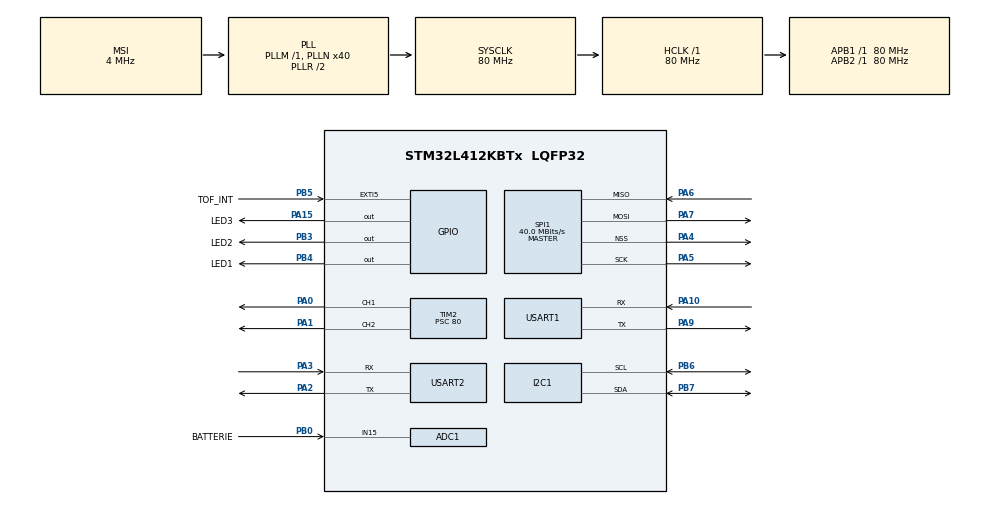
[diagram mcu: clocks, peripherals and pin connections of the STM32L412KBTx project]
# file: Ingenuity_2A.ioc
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ADC1.Channel-1\#ChannelRegularConversion=ADC_CHANNEL_15
ADC1.NbrOfConversionFlag=1
ADC1.OffsetNumber-1\#ChannelRegularConversion=ADC_OFFSET_NONE
ADC1.Rank-1\#ChannelRegularConversion=1
ADC1.SamplingTime-1\#ChannelRegularConversion=ADC_SAMPLETIME_2CYCLES_5
ADC1.master=1
I2C1.Timing=0x10909CEC
Mcu.Family=STM32L4
Mcu.Name=STM32L412KBTx
Mcu.Package=LQFP32
NVIC.EXTI9_5_IRQn=true\:0\:0\:false\:false\:true\:true\:true\:true
NVIC.PriorityGroup=NVIC_PRIORITYGROUP_4
NVIC.TIM6_IRQn=true\:0\:0\:false\:false\:true\:true\:true\:true
NVIC.USART2_IRQn=true\:0\:0\:false\:false\:true\:true\:true\:true
PA0-CK_IN.Signal=S_TIM2_CH1
PA1.Signal=S_TIM2_CH2
PA10.Mode=Asynchronous
PA10.Signal=USART1_RX
PA13\ (JTMS/SWDIO).Mode=Serial_Wire
PA13\ (JTMS/SWDIO).Signal=SYS_JTMS-SWDIO
PA14\ (JTCK/SWCLK).Mode=Serial_Wire
PA14\ (JTCK/SWCLK).Signal=SYS_JTCK-SWCLK
PA15\ (JTDI).GPIO_Label=LED3
PA15\ (JTDI).Signal=GPIO_Output
PA2.Mode=Asynchronous
PA2.Signal=USART2_TX
PA3.Mode=Asynchronous
PA3.Signal=USART2_RX
PA4.Mode=NSS_Signal_Hard_Output
PA4.Signal=SPI1_NSS
PA5.Mode=Full_Duplex_Master
PA5.Signal=SPI1_SCK
PA6.Mode=Full_Duplex_Master
PA6.Signal=SPI1_MISO
PA7.Mode=Full_Duplex_Master
PA7.Signal=SPI1_MOSI
PA9.Mode=Asynchronous
PA9.Signal=USART1_TX
PB0.GPIO_Label=BATTERIE
PB0.Signal=ADCx_IN15
PB3\ (JTDO/TRACESWO).GPIO_Label=LED2
PB3\ (JTDO/TRACESWO).Signal=GPIO_Output
PB4\ (NJTRST).GPIO_Label=LED1
PB4\ (NJTRST).Signal=GPIO_Output
PB5.GPIO_Label=TOF_INT
PB5.Signal=GPXTI5
PB6.Mode=I2C
PB6.Signal=I2C1_SCL
PB7.Mode=I2C
PB7.Signal=I2C1_SDA
ProjectManager.HeapSize=0x200
ProjectManager.StackSize=0x400
ProjectManager.TargetToolchain=STM32CubeIDE
RCC.ADCFreq_Value=80000000
RCC.AHBFreq_Value=80000000
RCC.APB1Freq_Value=80000000
RCC.APB1TimFreq_Value=80000000
RCC.APB2Freq_Value=80000000
RCC.APB2TimFreq_Value=80000000
RCC.CortexFreq_Value=80000000
RCC.HCLKFreq_Value=80000000
RCC.HSE_VALUE=8000000
RCC.HSI48_VALUE=48000000
RCC.HSI_VALUE=16000000
RCC.LSE_VALUE=32768
RCC.MSI_VALUE=4000000
RCC.PLLN=40
RCC.SYSCLKFreq_VALUE=80000000
RCC.SYSCLKSource=RCC_SYSCLKSOURCE_PLLCLK
RCC.USBFreq_Value=4000000
RCC.VCOOutputFreq_Value=160000000
SH.ADCx_IN15.0=ADC1_IN15,IN15-Single-Ended
SH.S_TIM2_CH1.0=TIM2_CH1,PWM Generation1 CH1
SH.S_TIM2_CH2.0=TIM2_CH2,PWM Generation2 CH2
SPI1.BaudRatePrescaler=SPI_BAUDRATEPRESCALER_2
SPI1.CalculateBaudRate=40.0 MBits/s
SPI1.Direction=SPI_DIRECTION_2LINES
SPI1.Mode=SPI_MODE_MASTER
SPI1.VirtualNSS=VM_NSSHARD
SPI1.VirtualType=VM_MASTER
TIM2.Channel-PWM\ Generation1\ CH1=TIM_CHANNEL_1
TIM2.Channel-PWM\ Generation2\ CH2=TIM_CHANNEL_2
TIM2.Period=19999
TIM2.Prescaler=80
TIM6.Period=50000
TIM6.Prescaler=80
USART1.VirtualMode-Asynchronous=VM_ASYNC
USART2.VirtualMode-Asynchronous=VM_ASYNC
VP_TIM2_VS_ClockSourceINT.Mode=Internal
VP_TIM6_VS_ClockSourceINT.Mode=Enable_Timer
board=custom

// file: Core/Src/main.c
/* USER CODE BEGIN Header */
/**
  ******************************************************************************
  * @file           : main.c
  * @brief          : Main program body
  ******************************************************************************
  * @attention
  *
  * Copyright (c) 2024 STMicroelectronics.
  * All rights reserved.
  *
  * This software is licensed under terms that can be found in the LICENSE file
  * in the root directory of this software component.
  * If no LICENSE file comes with this software, it is provided AS-IS.
  *
  ******************************************************************************
  */
/* USER CODE END Header */
#include "main.h"
#include "adc.h"
#include "i2c.h"
#include "spi.h"
#include "tim.h"
#include "usart.h"
#include "gpio.h"

/* USER CODE BEGIN Includes */
#include "string.h"
#include "motor.h"
#include "decodeInstruction.h"
#include "stdio.h"
#include "stdlib.h"
#include "math.h"

//////////////////////////////////////////////////////////////////////////////////////////////////////////////////
#include "VL53L1X_api.h"
#include "vl53l1_error_codes.h"

/* USER CODE END Includes */

/* USER CODE BEGIN PD */
#define MAX_ACK_MESSAGE_LENGTH 256

/////////////////////////////////////////////////////////////////////////////////////////////////////////////////
#define VL53L1X_DEFAULT_ADDRESS (0x29 << 1)

/* USER CODE END PD */

void SystemClock_Config(void);

/* USER CODE BEGIN 0 */
int __io_putchar(int ch)
{
  HAL_UART_Transmit(&huart1, (uint8_t *)&ch, 1, HAL_MAX_DELAY);
  return ch;
}

int __io_getchar(void)
{
  uint8_t ch = 0;
  __HAL_UART_CLEAR_OREFLAG(&huart1);
  HAL_UART_Receive(&huart1, (uint8_t *)&ch, 1, HAL_MAX_DELAY);
  HAL_UART_Transmit(&huart1, (uint8_t *)&ch, 1, HAL_MAX_DELAY);
  return ch;
}

char startChar = '@';
char endChar = '#';

uint8_t rx_char; // Variable to store the received character

char instruction[200];
int indexInstruction = 0;

int UARTReceiverState = 0;

volatile int flagUART1 = 0;
volatile int flagTIM6 = 0;

void HAL_TIM_PeriodElapsedCallback(TIM_HandleTypeDef * htim) {
	if (htim -> Instance == TIM6) {
		flagTIM6 = 1;
	}
}

void HAL_UART_RxCpltCallback(UART_HandleTypeDef *huart) {

	instruction[indexInstruction] = rx_char;
	indexInstruction++;

	// Re-enable UART interrupt reception
	HAL_UART_Receive_IT(&huart2, &rx_char, 1);

	if (rx_char == '#')
	{
		instruction[indexInstruction] = 0; // 0 character for the printf
		indexInstruction = 0;
		flagUART1 = 1;
	}
}

uint32_t measure_counter = 0;
uint8_t data_available = 0;
uint16_t distance;

void HAL_GPIO_EXTI_Callback(uint16_t GPIO_Pin)
{
	if (TOF_INT_Pin == GPIO_Pin)
	{
		measure_counter++;
		data_available++;
	}
}

/* USER CODE END 0 */

int main(void)
{

  /* MCU Configuration--------------------------------------------------------*/

  /* Reset of all peripherals, Initializes the Flash interface and the Systick. */
  HAL_Init();

  /* Configure the system clock */
  SystemClock_Config();

  /* Initialize all configured peripherals */
  MX_GPIO_Init();
  MX_ADC1_Init();
  MX_I2C1_Init();
  MX_SPI1_Init();
  MX_TIM2_Init();
  MX_USART1_UART_Init();
  MX_USART2_UART_Init();
  MX_TIM6_Init();
  /* USER CODE BEGIN 2 */

  //////////////////////////////////////////////////////////////////////////////////////////////////////////////////////////////////
	printf("\r\n===== VL53L1X-SATEL =====\r\n");

	uint16_t id;
	if (VL53L1X_GetSensorId(VL53L1X_DEFAULT_ADDRESS, &id) != VL53L1_ERROR_NONE)
	{
		Error_Handler();
	}
	printf("SensorID : 0x%X\r\n", id);

	VL53L1X_Version_t version;
	if (VL53L1X_GetSWVersion(&version) != VL53L1_ERROR_NONE)
	{
		Error_Handler();
	}
	printf("Version : %u.%ub%ur%lu\r\n", version.major, version.minor, version.build, version.revision);

	uint8_t boot_state = 0;
	uint8_t boot_state_counter = 0;

	while(boot_state == 0)
	{
		boot_state_counter++;
		if (VL53L1X_BootState(VL53L1X_DEFAULT_ADDRESS, &boot_state) != VL53L1_ERROR_NONE)
		{
			Error_Handler();
		}
		HAL_Delay(1);
	}

	printf("Chip booted in %d...\r\n", boot_state_counter);

	//Loads the 135 bytes default values to initialize the sensor.
	if (VL53L1X_SensorInit(VL53L1X_DEFAULT_ADDRESS) != VL53L1_ERROR_NONE)
	{
		Error_Handler();
	}
	printf("Sensor initialized with the default values\r\n");

	if (VL53L1X_SetDistanceMode(VL53L1X_DEFAULT_ADDRESS, 1) != VL53L1_ERROR_NONE) // 1=short, limited to 1.3m
	{
		Error_Handler();
	}
	printf("Short distance mode\r\n");

	if (VL53L1X_SetTimingBudgetInMs(VL53L1X_DEFAULT_ADDRESS, 50) != VL53L1_ERROR_NONE) // in ms possible values [20, 50, 100, 200, 500]
	{
		Error_Handler();
	}

	if (VL53L1X_SetInterMeasurementInMs(VL53L1X_DEFAULT_ADDRESS, 50) != VL53L1_ERROR_NONE) // in ms, IM must be >= TB
	{
		Error_Handler();
	}

	printf("Timing budget set\r\n");

	if (VL53L1X_StartRanging(VL53L1X_DEFAULT_ADDRESS) != VL53L1_ERROR_NONE)
	{
		Error_Handler();
	}

	  ///////////////////////////////////////////////////////////////////////////////////////////////////////////////////////////////////

  //Start Timer 6
  HAL_TIM_Base_Start_IT(&htim6);

	printf("--------------EXECUTION BEGINS--------------\r\n\n");

	// We define the dictionary of variables that can get modified by receiving a UART signal
	float height = 0.0;
	float LEDState = 0.0;
	float eLanding = 0.0;
	char* variableNames[3] = {"height", "LEDState", "eLanding"};
	float* variablePointers[3] = {&height, &LEDState, &eLanding};
	DictOfFloatVariables dictOfVariables = {
		.n = 3,
		.variableNames = variableNames,
		.variables = variablePointers
	};

	h_motor_t upperMotor;
	h_motor_t lowerMotor;

	upperMotor.htim = &htim2;
	lowerMotor.htim = &htim2;

	upperMotor.channel = TIM_CHANNEL_1;
	lowerMotor.channel = TIM_CHANNEL_2;

	MOTOR_InitBoth(&lowerMotor, &upperMotor);

	// Important, initiate character reception.
	// This line also being in HAL_UART_RxCpltCallback's body ensures continuous reception
	HAL_UART_Receive_IT(&huart2, &rx_char, 1);

  /* USER CODE END 2 */

  /* Infinite loop */
  /* USER CODE BEGIN WHILE */

  // This variable sets if the vertical control is constant (0), proportional (1) or proportional-derivative (2)
  int approach = 1;

  // Variables for Proportional Derivative Approach
  float Kp = 1.0;
  float Kd = 0.5;

  float previousError = 0;
  float dt = 0.05; // Time step (I calculated it based on our tim6 configuration)

  while (1)
  {

	  if (data_available > 0)
		{
			data_available = 0;
			uint16_t newDistance;

			if (VL53L1X_ClearInterrupt(VL53L1X_DEFAULT_ADDRESS) != VL53L1_ERROR_NONE)
			{
				Error_Handler();
			}
			if (VL53L1X_GetDistance(VL53L1X_DEFAULT_ADDRESS, &newDistance) != VL53L1_ERROR_NONE)
			{
				Error_Handler();
			}

			if (height != 0 && newDistance == 0) {
				// keep current value of distance to make sure to avoid any division by zero
			} else {
				distance = newDistance;
			}
		}

	  if (flagTIM6 == 1) {
		  flagUART1 = 0;

		  //printf("distance(%lu) : %u\r\n", measure_counter, distance);

		  if (approach == 0) {
			  if(distance < height) {
				  int current_percentage = upperMotor.PercentageOfTotalPower;
				  MOTOR_SetPower(&upperMotor, current_percentage + 1);
				  MOTOR_SetPower(&lowerMotor, current_percentage + 1);
			  } else if(distance > height) {
				  int current_percentage = upperMotor.PercentageOfTotalPower;
				  MOTOR_SetPower(&upperMotor, current_percentage - 1);
				  MOTOR_SetPower(&lowerMotor, current_percentage - 1);
			  }
		  } else if (approach == 1) {
			  int maxPercentageVariation = 5;
			  if(distance < height) {
				  int distanceToGoal = height - distance;

				  int percentageVariation = distanceToGoal/10;

				  if (percentageVariation > maxPercentageVariation) {
					  percentageVariation = maxPercentageVariation;
				  }

				  int current_percentage = upperMotor.PercentageOfTotalPower;
				  MOTOR_SetPower(&upperMotor, current_percentage + percentageVariation);
				  MOTOR_SetPower(&lowerMotor, current_percentage + percentageVariation);

			  } else if(distance > height) {
				  int distanceToGoal = distance - height;

				  int percentageVariation = distanceToGoal/10;

				  if (percentageVariation > maxPercentageVariation) {
					  percentageVariation = maxPercentageVariation;
				  }

				  int current_percentage = upperMotor.PercentageOfTotalPower;
				  MOTOR_SetPower(&upperMotor, current_percentage - percentageVariation);
				  MOTOR_SetPower(&lowerMotor, current_percentage - percentageVariation);
			  }
		  } else if (approach == 2) {
			  int error = height - distance;

			  float P = Kp * error;

			  float derivative = (error - previousError) / dt;
			  float D = Kd * derivative;

			  float pdOutput = P + D;

			  int maxVariation = 5;
			  if (pdOutput > maxVariation) pdOutput = maxVariation;
			  if (pdOutput < -maxVariation) pdOutput = -maxVariation;

			  int currentPower = upperMotor.PercentageOfTotalPower;

			  MOTOR_SetPower(&upperMotor, currentPower + (int)pdOutput);
			  MOTOR_SetPower(&lowerMotor, currentPower + (int)pdOutput);

			  previousError = error;
		  }
	  }

	  // This is a test to check that instructions can correctly be received
	  // by UART and affect change (modified variables, LED toggled)
	  if (flagUART1 == 1) {
		  printf("instruction = %s\r\n", instruction);

		  flagUART1 = 0;

		  LabelValue lv = checkInstruction(instruction);
		  printLabelValue(lv);

		  if (isnan(lv.value)) {
			  // error case
		  } else {
			  int applyLVReturnValue = applyLabelValue(lv, dictOfVariables);

			  if (applyLVReturnValue) { // If the return value is 1, it failed
				  // error case
			  } else {
				  char ackReceivedSuccess[MAX_ACK_MESSAGE_LENGTH];

				  sprintf(ackReceivedSuccess, "Received %s", instruction);
				  HAL_UART_Transmit_IT(&huart2, (uint8_t*)ackReceivedSuccess, strlen(ackReceivedSuccess));
			  }
		  }

		  if (eLanding != 0.0) {
			  MOTOR_SetLinearBoth(&upperMotor, &lowerMotor, 0.0, 5000);
			  //wait 5 s
			  eLanding = 0.0;
		  } else {
			  // Old motor update based solely on height instruction, use if you don't want any control
			  //MOTOR_SetPower(&upperMotor, height);
			  //MOTOR_SetPower(&lowerMotor, height);
		  }

		  // You can use this LED test to check if communication works without any danger
		  if(LEDState != 0.0) {
			  HAL_GPIO_WritePin(GPIOA, GPIO_PIN_15, GPIO_PIN_SET);
		  } else {
			  HAL_GPIO_WritePin(GPIOA, GPIO_PIN_15, GPIO_PIN_RESET);
		  }
	  }
    /* USER CODE END WHILE */

  }
}

void SystemClock_Config(void)
{
  RCC_OscInitTypeDef RCC_OscInitStruct = {0};
  RCC_ClkInitTypeDef RCC_ClkInitStruct = {0};

  /** Configure the main internal regulator output voltage
  */
  if (HAL_PWREx_ControlVoltageScaling(PWR_REGULATOR_VOLTAGE_SCALE1) != HAL_OK)
  {
    Error_Handler();
  }

  /** Initializes the RCC Oscillators according to the specified parameters
  * in the RCC_OscInitTypeDef structure.
  */
  RCC_OscInitStruct.OscillatorType = RCC_OSCILLATORTYPE_MSI;
  RCC_OscInitStruct.MSIState = RCC_MSI_ON;
  RCC_OscInitStruct.MSICalibrationValue = 0;
  RCC_OscInitStruct.MSIClockRange = RCC_MSIRANGE_6;
  RCC_OscInitStruct.PLL.PLLState = RCC_PLL_ON;
  RCC_OscInitStruct.PLL.PLLSource = RCC_PLLSOURCE_MSI;
  RCC_OscInitStruct.PLL.PLLM = 1;
  RCC_OscInitStruct.PLL.PLLN = 40;
  RCC_OscInitStruct.PLL.PLLQ = RCC_PLLQ_DIV2;
  RCC_OscInitStruct.PLL.PLLR = RCC_PLLR_DIV2;
  if (HAL_RCC_OscConfig(&RCC_OscInitStruct) != HAL_OK)
  {
    Error_Handler();
  }

  /** Initializes the CPU, AHB and APB buses clocks
  */
  RCC_ClkInitStruct.ClockType = RCC_CLOCKTYPE_HCLK|RCC_CLOCKTYPE_SYSCLK
                              |RCC_CLOCKTYPE_PCLK1|RCC_CLOCKTYPE_PCLK2;
  RCC_ClkInitStruct.SYSCLKSource = RCC_SYSCLKSOURCE_PLLCLK;
  RCC_ClkInitStruct.AHBCLKDivider = RCC_SYSCLK_DIV1;
  RCC_ClkInitStruct.APB1CLKDivider = RCC_HCLK_DIV1;
  RCC_ClkInitStruct.APB2CLKDivider = RCC_HCLK_DIV1;

  if (HAL_RCC_ClockConfig(&RCC_ClkInitStruct, FLASH_LATENCY_4) != HAL_OK)
  {
    Error_Handler();
  }
}

void Error_Handler(void)
{
  __disable_irq();
  while (1)
  {
  }
}
